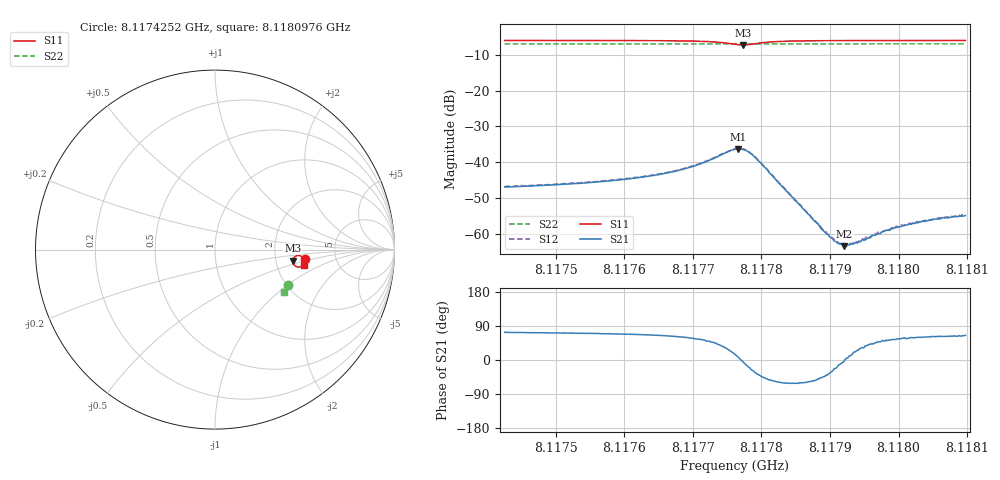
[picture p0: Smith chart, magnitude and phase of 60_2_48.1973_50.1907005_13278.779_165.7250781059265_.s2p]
#  HZ  S  RI  R  50.00
! Rohde & Schwarz Vector Network Analyzer
! Rohde-Schwarz,ZNB20-2Port,1311601062101988,3.16
! Created: UTC 3/20/2024, 11:38:44 AM
! freq[Hz]  re:S11  im:S11  re:S21  im:S21  re:S12  im:S12  re:S22  im:S22
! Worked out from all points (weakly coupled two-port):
!   401 points, 8.1174252 GHz to 8.1180976 GHz, reference 50 ohm
!   highest |S21| = -36.27 dB at 8.1177664 GHz (marker M1); lowest = -63.5 dB at 8.1179211 GHz (marker M2)
!   lowest |S11| = -7.2 dB at 8.1177731 GHz (marker M3), VSWR 2.55, Z = 124 - j18.7 ohm
!   |S11| at or under -10 dB: nowhere
!   |S22| runs from -6.9 to -6.9 dB; largest |S21 - S12| = 0.00052
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8.11742517e9  0.5027 -0.0512  0.00132 0.00429  0.00142 0.00434  0.4067 -0.1971
8.1175378e9  0.5007 -0.0623  0.00171 0.00478  0.00178 0.00488  0.4034 -0.2046
8.11760168e9  0.4985 -0.0701  0.00215 0.00534  0.00225 0.00542  0.4015 -0.2088
8.11765043e9  0.4954 -0.0775  0.00282 0.00607  0.00297 0.00618  0.3998 -0.2119
8.11770086e9  0.487 -0.0884  0.00475 0.00735  0.00494 0.00744  0.3978 -0.2152
8.11776138e9  0.4385 -0.0833  0.0146 0.00387  0.0149 0.00374  0.3939 -0.218
8.11776642e9  0.4341 -0.0747  0.0153 0.00184  0.0155 0.00156  0.3937 -0.2178
8.11777315e9  0.433 -0.0608  0.0149 -0.00128  0.0152 -0.00147  0.3935 -0.2178
8.11777987e9  0.4377 -0.0476  0.0136 -0.00395  0.0137 -0.00424  0.3938 -0.2176
8.11778996e9  0.4519 -0.0354  0.00998 -0.00627  0.0102 -0.00647  0.3943 -0.2179
8.1178219e9  0.4855 -0.0401  0.00299 -0.00467  0.003 -0.0048  0.3948 -0.2203
8.11787401e9  0.4969 -0.058  0.000935 -0.00133  0.000918 -0.00138  0.3934 -0.2244
8.11788914e9  0.4978 -0.0615  0.00079 -0.000809  0.000792 -0.000828  0.393 -0.2254
8.11790427e9  0.4984 -0.0646  0.000763 -0.000399  0.000723 -0.000398  0.3925 -0.2263
8.11791267e9  0.4983 -0.066  0.000709 -0.000163  0.000714 -0.000179  0.3923 -0.227
8.11792108e9  0.4985 -0.0675  0.000667 -6.56e-06  0.000709 1.31e-05  0.3919 -0.2275
8.11794293e9  0.4987 -0.0708  0.000667 0.000377  0.00069 0.000373  0.3911 -0.2289
8.11796815e9  0.4987 -0.0742  0.000667 0.000706  0.000694 0.000703  0.3903 -0.2307
8.11798664e9  0.4985 -0.0765  0.000682 0.000872  0.000718 0.000865  0.3897 -0.2318
8.11802362e9  0.4981 -0.0805  0.000709 0.00118  0.000733 0.00124  0.3886 -0.234
8.11806733e9  0.4976 -0.0851  0.000776 0.00147  0.0008 0.0015  0.387 -0.2369
8.11809758e9  0.4971 -0.088  0.000758 0.00162  0.000809 0.00165  0.386 -0.2386
